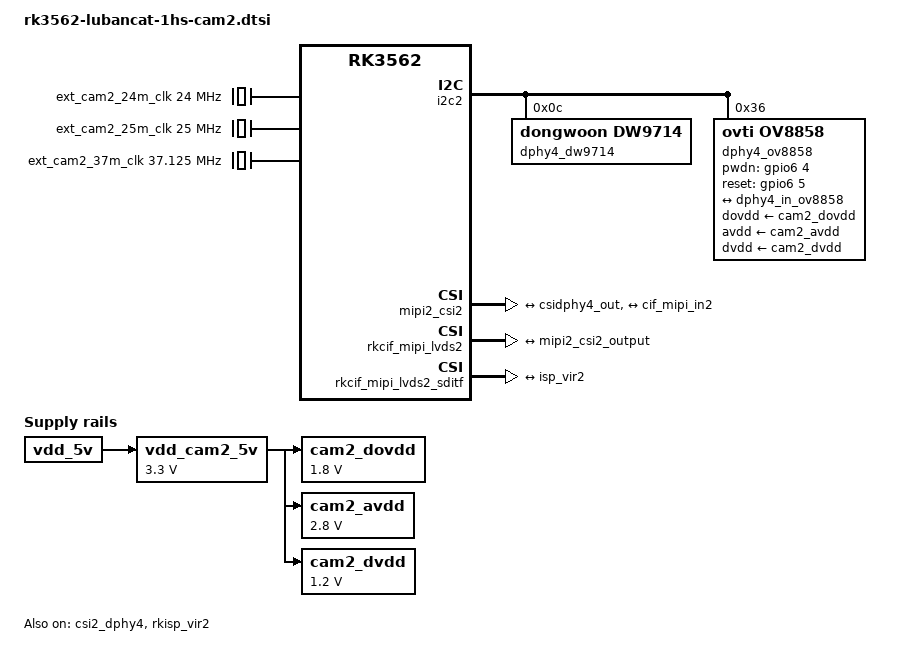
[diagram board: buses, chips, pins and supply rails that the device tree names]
// SPDX-License-Identifier: (GPL-2.0+ OR MIT)
/*
 * Copyright (c) 2024 Rockchip Electronics Co., Ltd.
 *
 */

/ {
	ext_cam2_24m_clk: external-camera-24m-clock {
		compatible = "fixed-clock";
		#clock-cells = <0>;
		clock-frequency = <24000000>;
		clock-output-names = "ext_cam2_24m_clk";
	};

	ext_cam2_25m_clk: external-camera-25m-clock {
		compatible = "fixed-clock";
		clock-frequency = <25000000>;
		clock-output-names = "ext_cam2_25m_clk";
		#clock-cells = <0>;
	};

	ext_cam2_37m_clk: external-camera-37m-clock {
		compatible = "fixed-clock";
		#clock-cells = <0>;
		clock-frequency = <37125000>;
		clock-output-names = "ext_cam2_37m_clk";
	};

	vdd_cam2_5v: vdd-cam-5v-regulator {
		compatible = "regulator-fixed";
		regulator-name = "vdd_cam2_5v";
		regulator-always-on;
		regulator-boot-on;
		regulator-min-microvolt = <3300000>;
		regulator-max-microvolt = <3300000>;
		vin-supply = <&vdd_5v>;
	};

	cam2_dovdd: cam-dovdd {
		compatible = "regulator-fixed";
		regulator-name = "cam2_dovdd";
		regulator-always-on;
		regulator-boot-on;
		regulator-min-microvolt = <1800000>;
		regulator-max-microvolt = <1800000>;
		vin-supply = <&vdd_cam2_5v>;
	};

	cam2_avdd: cam-avdd {
		compatible = "regulator-fixed";
		regulator-name = "cam2_avdd";
		regulator-always-on;
		regulator-boot-on;
		regulator-min-microvolt = <2800000>;
		regulator-max-microvolt = <2800000>;
		vin-supply = <&vdd_cam2_5v>;
	};

	cam2_dvdd: cam-dvdd {
		compatible = "regulator-fixed";
		regulator-name = "cam2_dvdd";
		regulator-always-on;
		regulator-boot-on;
		regulator-min-microvolt = <1200000>;
		regulator-max-microvolt = <1200000>;
		vin-supply = <&vdd_cam2_5v>;
	};
};

&i2c2 {
	status = "okay";
	pinctrl-names = "default";
	pinctrl-0 = <&i2c2m1_xfer>;

	dphy4_dw9714: dw9714@c {
		status = "okay";
		compatible = "dongwoon,dw9714";
		reg = <0xc>;
		rockchip,camera-module-index = <0>;
		rockchip,vcm-max-current = <100>;
		rockchip,vcm-start-current = <0>;
		rockchip,vcm-rated-current = <100>;
		rockchip,vcm-step-mode = <0xd>;
		rockchip,vcm-dlc-enable = <0>;
		rockchip,vcm-mclk = <0>;
		rockchip,vcm-t-src = <0>;
		rockchip,camera-module-facing = "back";
	};

	dphy4_ov5647: ov5647@36 {
		compatible = "ovti,ov5647";
		status = "disabled";
		reg = <0x36>;
		clocks = <&ext_cam2_25m_clk>;
		clock-names = "ext_cam2_25m_clk";
		pwdn-gpios = <&gpio6 4 GPIO_ACTIVE_LOW>;
		lens-focus = <&dphy4_dw9714>;

		port {
			ov5647_dphy4_out: endpoint {
				remote-endpoint = <&dphy4_in_ov5647>;
				data-lanes = <1 2>;
			};
		};
	};

	dphy4_ov5648: ov5648@36 {
		compatible = "ovti,ov5648";
		status = "disabled";
		reg = <0x36>;
		clocks = <&ext_cam2_24m_clk>;
		clock-names = "xvclk";
		dovdd-supply= <&cam2_dovdd>; /* 1.8v */
		avdd-supply = <&cam2_avdd>;  /* 2.8v */
		dvdd-supply = <&cam2_dvdd>;  /* 1.2v */
		pwdn-gpios = <&gpio6 4 GPIO_ACTIVE_HIGH>;
		reset-gpios = <&gpio6 5 GPIO_ACTIVE_LOW>;
		rotation = <180>;

		rockchip,camera-module-index = <0>;
		rockchip,camera-module-facing = "back";
		rockchip,camera-module-name = "THDS11073";
		rockchip,camera-module-lens-name = "Largan-40122a1";
		lens-focus = <&dphy4_dw9714>;

		port {
			/* MIPI CSI-2 bus endpoint */
			ov5648_dphy4_out: endpoint {
				remote-endpoint = <&dphy4_in_ov5648>;
				clock-lanes = <0>;
				data-lanes = <1 2>;
			};
		};
	};

	dphy4_ov8858: ov8858@36 {
		compatible = "ovti,ov8858";
		status = "okay";
		reg = <0x36>;
		clocks = <&ext_cam2_24m_clk>;
		clock-names = "xvclk";
		dovdd-supply= <&cam2_dovdd>; /* 1.8v */
		avdd-supply = <&cam2_avdd>;  /* 2.8v */
		dvdd-supply = <&cam2_dvdd>;  /* 1.2v */
		pwdn-gpios = <&gpio6 4 GPIO_ACTIVE_HIGH>;
		reset-gpios = <&gpio6 5 GPIO_ACTIVE_HIGH>;
		rotation = <180>;

		rockchip,camera-module-index = <0>;
		rockchip,camera-module-facing = "back";
		rockchip,camera-module-name = "HS5885-BNSM1018-V01";
		rockchip,camera-module-lens-name = "default";
		lens-focus = <&dphy4_dw9714>;

		port {
			/* MIPI CSI-2 bus endpoint */
			ov8858_dphy4_out: endpoint {
				remote-endpoint = <&dphy4_in_ov8858>;
				clock-lanes = <0>;
				data-lanes = <1 2>;
			};
		};
	};

	dphy4_ov13850: ov13850@10 {
		compatible = "ovti,ov13850";
		status = "disabled";
		reg = <0x10>;
		clocks = <&ext_cam2_24m_clk>;
		clock-names = "xvclk";
		dovdd-supply= <&cam2_dovdd>; /* 1.8v */
		avdd-supply = <&cam2_avdd>;  /* 2.8v */
		dvdd-supply = <&cam2_dvdd>;  /* 1.2v */
		pwdn-gpios = <&gpio6 4 GPIO_ACTIVE_HIGH>;
		reset-gpios = <&gpio6 5 GPIO_ACTIVE_HIGH>;
		rotation = <180>;

		rockchip,camera-module-index = <2>;
		rockchip,camera-module-facing = "back";
		rockchip,camera-module-name = "ZC-OV13850R2A-V1";
		rockchip,camera-module-lens-name = "Largan-50064B31";
		lens-focus = <&dphy4_dw9714>;

		port {
			/* MIPI CSI-2 bus endpoint */
			ov13850_dphy4_out: endpoint {
				remote-endpoint = <&dphy4_in_ov13850>;
				clock-lanes = <0>;
				data-lanes = <1 2>;
			};
		};
	};

	dphy4_imx415: imx415@1a {
		compatible = "sony,imx415";
		status = "disabled";
		reg = <0x1a>;
		clocks = <&ext_cam2_37m_clk>;
		clock-names = "xvclk";
		dovdd-supply = <&cam2_dovdd>;
		avdd-supply = <&cam2_avdd>;
		dvdd-supply = <&cam2_dvdd>;
		pwdn-gpios = <&gpio6 4 GPIO_ACTIVE_HIGH>;
		reset-gpios = <&gpio6 5 GPIO_ACTIVE_LOW>;

		rockchip,camera-module-index = <0>;
		rockchip,camera-module-facing = "back";
		rockchip,camera-module-name = "CMK-OT2022-PX1";
		rockchip,camera-module-lens-name = "IR0147-50IRC-8M-F20";
		// NO_HDR:0 HDR_X2:5 HDR_X3:6
		// rockchip,camera-hdr-mode = <0>;
		port {
			imx415_dphy4_out: endpoint {
				remote-endpoint = <&dphy4_in_imx415>;
				data-lanes = <1 2>;
			};
		};
	};
};

/* Link path: sensor->csi2_dphy4->mipi2_csi2->rkcif_mipi_lvds2--->rkcif_mipi_lvds2_sditf->rkisp_vir2 */
&csi2_dphy4 {
	status = "okay";

	ports {
		#address-cells = <1>;
		#size-cells = <0>;
		port@0 {
			reg = <0>;
			#address-cells = <1>;
			#size-cells = <0>;

			dphy4_in_ov5647: endpoint@1 {
				reg = <1>;
				remote-endpoint = <&ov5647_dphy4_out>;
				data-lanes = <1 2>;
			};

			dphy4_in_ov5648: endpoint@2 {
				reg = <2>;
				remote-endpoint = <&ov5648_dphy4_out>;
				data-lanes = <1 2>;
			};

			dphy4_in_ov8858: endpoint@3 {
				reg = <3>;
				remote-endpoint = <&ov8858_dphy4_out>;
				data-lanes = <1 2>;
			};

			dphy4_in_ov13850: endpoint@4 {
				reg = <4>;
				remote-endpoint = <&ov13850_dphy4_out>;
				data-lanes = <1 2>;
			};

			dphy4_in_imx415: endpoint@5 {
				reg = <5>;
				remote-endpoint = <&imx415_dphy4_out>;
				data-lanes = <1 2>;
			};
		};

		port@1 {
			reg = <1>;
			#address-cells = <1>;
			#size-cells = <0>;

			csidphy4_out: endpoint@0 {
				reg = <0>;
				remote-endpoint = <&mipi2_csi2_input>;
			};
		};
	};
};

&mipi2_csi2 {
	status = "okay";

	ports {
		#address-cells = <1>;
		#size-cells = <0>;

		port@0 {
			reg = <0>;
			#address-cells = <1>;
			#size-cells = <0>;

			mipi2_csi2_input: endpoint@1 {
				reg = <1>;
				remote-endpoint = <&csidphy4_out>;
			};
		};

		port@1 {
			reg = <1>;
			#address-cells = <1>;
			#size-cells = <0>;

			mipi2_csi2_output: endpoint@0 {
				reg = <0>;
				remote-endpoint = <&cif_mipi_in2>;
			};
		};
	};
};


&rkcif_mipi_lvds2 {
	status = "okay";

	port {
		cif_mipi_in2: endpoint {
			remote-endpoint = <&mipi2_csi2_output>;
		};
	};
};

&rkcif_mipi_lvds2_sditf {
	status = "okay";

	port {
		mipi_lvds2_sditf: endpoint {
			remote-endpoint = <&isp_vir2>;
		};
	};
};

&rkisp_vir2 {
	status = "okay";

	port {
		#address-cells = <1>;
		#size-cells = <0>;

		isp_vir2: endpoint@0 {
			reg = <0>;
			remote-endpoint = <&mipi_lvds2_sditf>;
		};
	};
};
